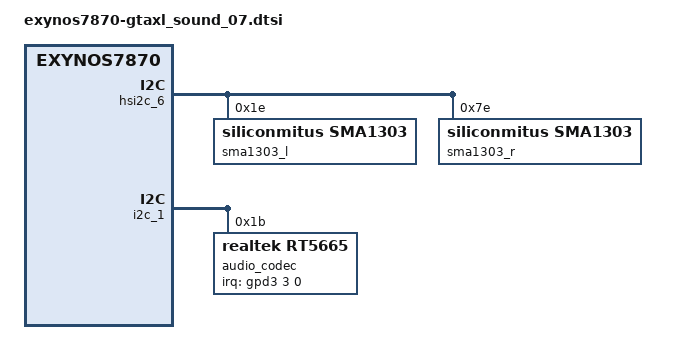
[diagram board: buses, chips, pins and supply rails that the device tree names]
/*
 * SAMSUNG EXYNOS7870 Galaxy Tab A LTE soundcard device tree source
 *
 * Copyright (c) 2020 Samsung Electronics Co., Ltd.
 *		http://www.samsung.com
 *
 * This program is free software; you can redistribute it and/or modify
 * it under the terms of the GNU General Public License version 2 as
 * published by the Free Software Foundation.
 */

/ {
	sound {
		status = "okay";
		compatible = "samsung,universal7870-rt5665";

		samsung,audio-routing =
				"RECEIVER", "MONOOUT",
				"RECEIVER", "MONOOUT",
				"HEADPHONE", "HPOL",
				"HEADPHONE", "HPOR",
				"SPEAKER", "SPKL Playback",
				"SPEAKER", "SPKR Playback",
				"IN1P", "HEADSETMIC",
				"IN1N", "HEADSETMIC",
				"IN3P", "MAINMIC",
				"IN3N", "MAINMIC",
				"IN4P", "SUBMIC",
				"IN4N", "SUBMIC";

		samsung,audio-cpu = <&i2s0
					&i2s0
					&audio_cp_dummy		/* CODEC & AMP for CP */
					&audio_bt_dummy
					&i2s0				/* CODEC & AMP for AP */
					&eax
					&eax
					&eax
					&eax>;

		samsung,audio-codec = <&audio_codec
					&audio_codec_dummy
					&audio_codec_dummy		/* CODEC & AMP for CP */
					&audio_codec_dummy
					&audio_codec_dummy		/* CODEC & AMP for AP */
					&audio_codec_dummy
					&audio_codec_dummy
					&audio_codec_dummy
					&audio_codec_dummy>;

		samsung,codec = <&s1402x &audio_codec &sma1303_l &sma1303_r>;

		samsung,syscon-phandle = <&pmu_system_controller>;
		samsung,auxdev = <&s1402x>;
		clock-names = "xclkout";
		//clocks = <&clock OSC_AUD>;
		clocks = <&clock 470>;

		/delete-property/ io-channels;
		/delete-property/ io-channel-names;
		/delete-property/ #io-channel-cells;
		/delete-property/ io-channel-ranges;

		mixer-paths = "mixer_paths_rev07.xml";
	};
};

&hsi2c_6 {
	#address-cells = <1>;
	#size-cells = <0>;
	status = "okay";

	sma1303_l: sma1303@1e {
		#sound-dai-cells = <0>;

		compatible = "siliconmitus,sma1303";
		reg = <0x1e>;
		init-vol = <0x31>;
		stereo-two-chip;
		/* EXTERNAL_CLOCK_19_2   : 0x00,
		 * EXTERNAL_CLOCK_24_576 : 0x01,
		 * PLL_CLKIN_MCLK        : 0x02,
		 * PLL_CLKIN_BCLK        : 0x03
		 */
		sys-clk-id = <0x03>;
		status = "okay";
	};

	sma1303_r: sma1303@7e {
		#sound-dai-cells = <0>;

		compatible = "siliconmitus,sma1303";
		reg = <0x7e>;
		init-vol = <0x31>;
		stereo-two-chip;
		/* EXTERNAL_CLOCK_19_2   : 0x00,
		 * EXTERNAL_CLOCK_24_576 : 0x01,
		 * PLL_CLKIN_MCLK        : 0x02,
		 * PLL_CLKIN_BCLK        : 0x03
		 */
		sys-clk-id = <0x03>;
		status = "okay";
	};
};

//i2c@13880000 {
&i2c_1 {
	#address-cells = <1>;
	#size-cells = <0>;
	status = "okay";

	audio_codec: rt5665@1b {
		compatible = "realtek,rt5665";
		reg = <0x1b>;
		pinctrl-names = "default";
		pinctrl-0 = <&codec_irq>;
		interrupt-parent = <&gpd3>;
		interrupts = <3 0 0>;
		#sound-dai-cells = <1>;
		realtek,in1-differential;
		realtek,in3-differential;
		realtek,in4-differential;
		realtek,jd-src = <2>;
		/* realtek,mic-check-in-bg; */
		realtek,dmic2-data-pin =<2>;
		realtek,sar-hs-type = <700>;
		realtek,sar-pb-vth0 = <95>;
		realtek,sar-pb-vth1 = <139>;
		realtek,sar-pb-vth2 = <246>;
		realtek,sar-pb-vth3 = <580>;
		imp_table = <
			/*min max gain bias*/
			0x0000 0x000d 3 6 // 8 ohm
			0x000e 0x0019 1 6 // 16 ohm
			0x001a 0x0035 0 6 // 32 ohm
			0x0036 0x0067 0 6 // 64 ohm
			0x0068 0xffff 0 6 // > 100 ohm
		>;

		/* not use offset-comp due to AMP on/off noise */
		realtek,offset-comp = <0x0078 0x0090 0x00b0 0x00c0
					0x00f0 0x0110 0x0130 0x0180
					0x01e0 0x0200 0x02a0 0x0300
					0x03a0 0x0400 0x0500 0x0600>;
		realtek,offset-comp-r = <0x001a 0x001f 0x0020 0x002a
					0x0030 0x0040 0x0050 0x0060
					0x006f 0x007f 0x00a0 0x00b0
					0x00cf 0x0100 0x0120 0x0160>;
		realtek,regulator_1v8 = <&ldo25_reg>;
		realtek,regulator_3v3 = <&ldo32_reg>;
	};
};

&pinctrl_6 {
	codec_irq: codec_irq {
		samsung,pins ="gpd3-3";
		samsung,pin-function = <0xf>;
		samsung,pin-pud = <0>;
	};
};
